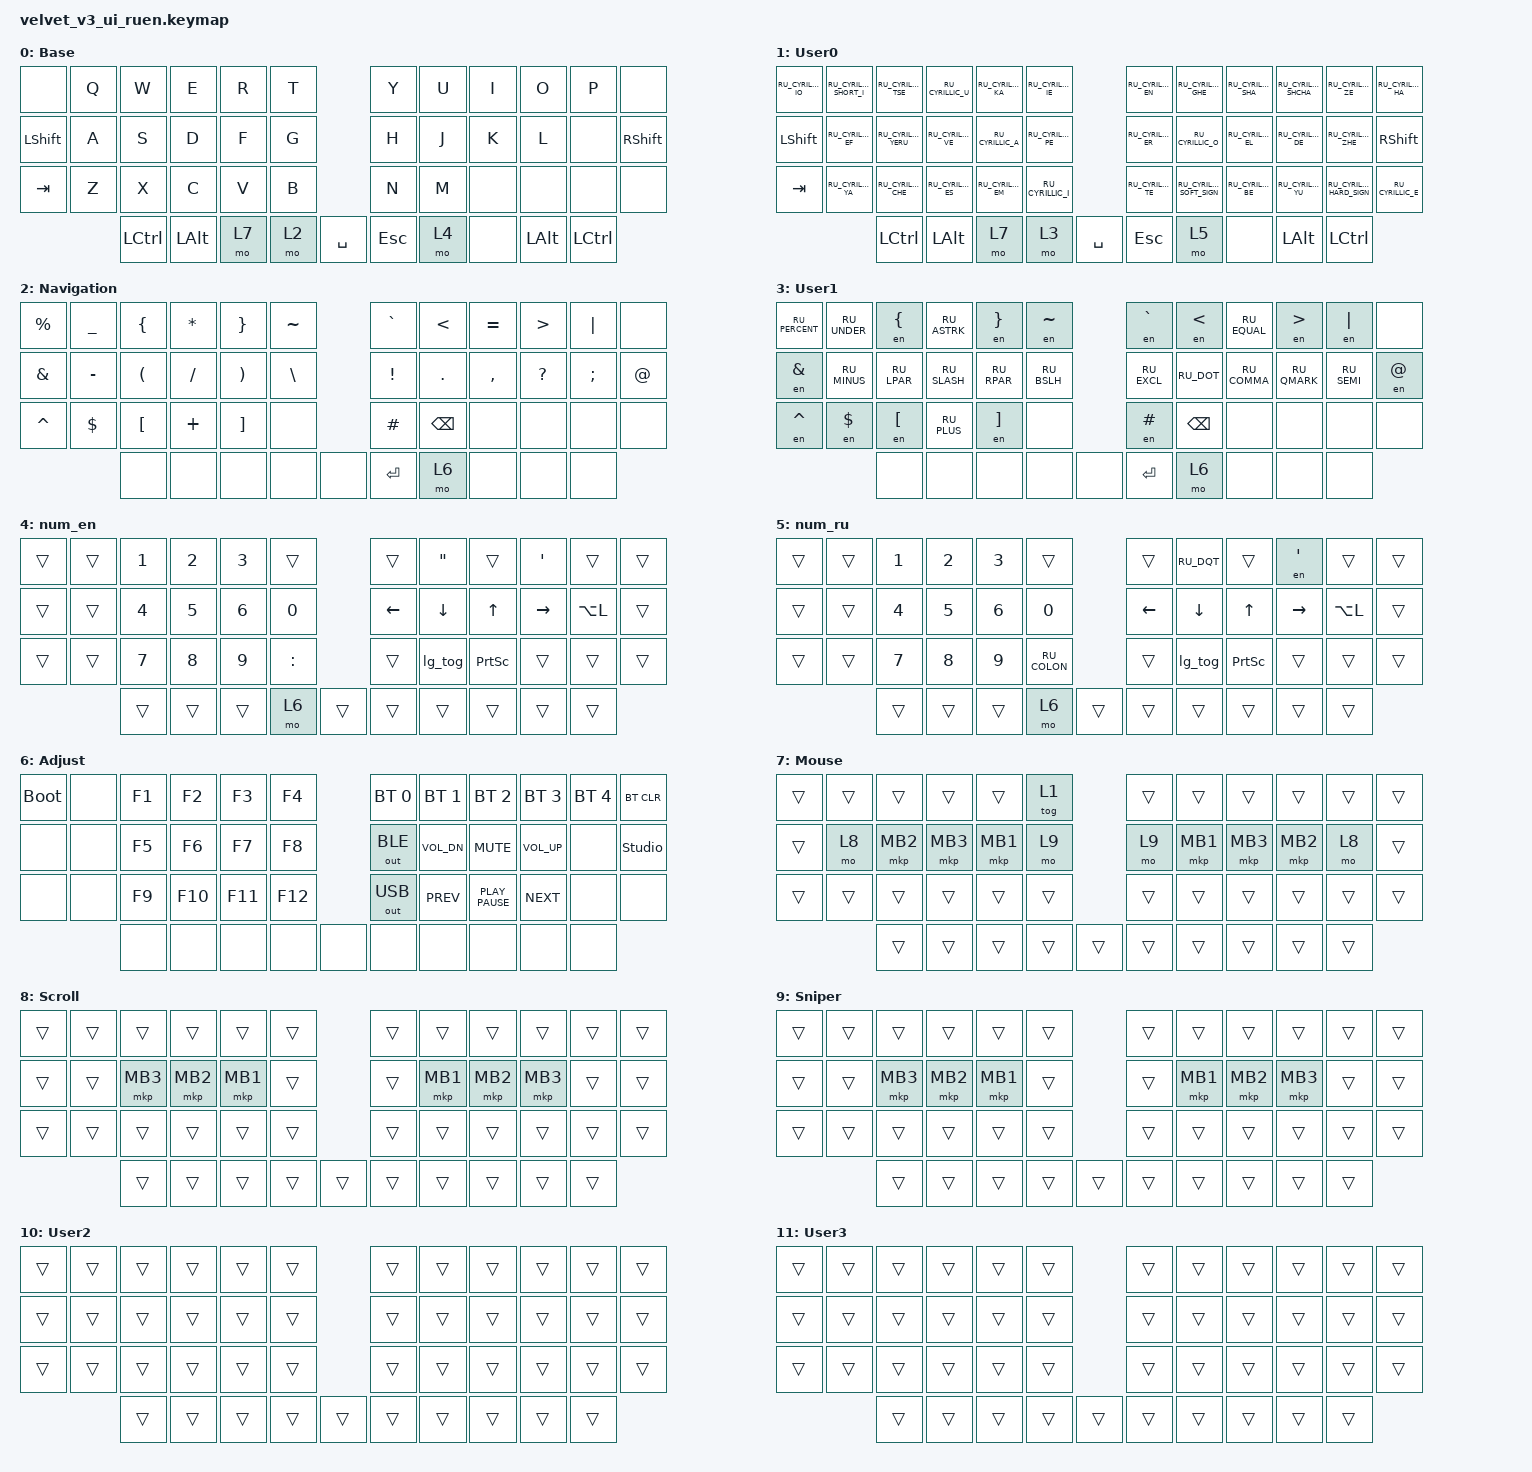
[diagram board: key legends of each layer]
#include "keys_ru.h"
#include <dt-bindings/zmk/input_transform.h>
#include <input/processors.dtsi>
#include <zephyr/dt-bindings/input/input-event-codes.h>
#include <behaviors.dtsi>
#include <dt-bindings/zmk/bt.h>
#include <dt-bindings/zmk/keys.h>
#include <dt-bindings/zmk/outputs.h>
#include <dt-bindings/zmk/pointing.h>

/ {
    behaviors {
        cap_sen: cap_sen {
            compatible = "zmk,behavior-hold-tap";
            label = "CAP_SEN";
            bindings = <&trans>, <&none>;

            #binding-cells = <2>;
            tapping-term-ms = <150>;
        };
    };

    combos {
        compatible = "zmk,combos";

        caps_word {
            bindings = <&caps_word>;
            key-positions = <12 23>;
        };
    };

    macros {
        to_ru: to_ru {
            compatible = "zmk,behavior-macro";
            #binding-cells = <0>;
            bindings = <&kp LG(SPACE)>;
            label = "TO_RU";
            wait-ms = <0>;
            tap-ms = <30>;
        };

        to_en: to_en {
            compatible = "zmk,behavior-macro";
            #binding-cells = <0>;
            bindings = <&kp LG(SPACE)>;
            label = "TO_EN";
            wait-ms = <0>;
            tap-ms = <30>;
        };

        layer_en: layer_en {
            compatible = "zmk,behavior-macro";
            #binding-cells = <0>;
            bindings = <&to 0 &to_en>;
            label = "LAYER_EN";
            wait-ms = <0>;
            tap-ms = <30>;
        };

        layer_ru: layer_ru {
            compatible = "zmk,behavior-macro";
            #binding-cells = <0>;
            bindings = <&to 1 &to_ru>;
            label = "LAYER_RU";
            tap-ms = <30>;
            wait-ms = <0>;
        };

        en: en {
            compatible = "zmk,behavior-macro-one-param";
            #binding-cells = <1>;
            bindings =
                <&to_en>,
                <&macro_press>,
                <&macro_param_1to1 &kp MACRO_PLACEHOLDER>,
                <&macro_pause_for_release>,
                <&macro_release>,
                <&macro_param_1to1 &kp MACRO_PLACEHOLDER>,
                <&macro_tap>,
                <&to_ru>;

            label = "EN";
            wait-ms = <0>;
            tap-ms = <30>;
        };

        lg_tog: lg_tog {
            compatible = "zmk,behavior-macro";
            #binding-cells = <0>;
            bindings = <&kp LG(SPACE) &tog 1>;
            label = "LG_TOG";
        };
    };

    keymap {
        compatible = "zmk,keymap";

        en {
            bindings = <
&none           &kp Q  &kp W             &kp E         &kp R  &kp T                        &kp Y  &kp U  &kp I         &kp O             &kp P  &none
&kp LEFT_SHIFT  &kp A  &kp S             &kp D         &kp F  &kp G                        &kp H  &kp J  &kp K         &kp L             &none  &kp RIGHT_SHIFT
&kp TAB         &kp Z  &kp X             &kp C         &kp V  &kp B                        &kp N  &kp M  &none         &none             &none  &none
                       &kp LEFT_CONTROL  &kp LEFT_ALT  &mo 7  &mo 2  &kp SPACE    &kp ESC  &mo 4  &none  &kp LEFT_ALT  &kp LEFT_CONTROL
            >;

            display-name = "Base";
        };

        ru {
            bindings = <
&kp RU_CYRILLIC_IO  &kp RU_CYRILLIC_SHORT_I  &kp RU_CYRILLIC_TSE   &kp RU_CYRILLIC_U   &kp RU_CYRILLIC_KA  &kp RU_CYRILLIC_IE                        &kp RU_CYRILLIC_EN  &kp RU_CYRILLIC_GHE        &kp RU_CYRILLIC_SHA  &kp RU_CYRILLIC_SHCHA  &kp RU_CYRILLIC_ZE         &kp RU_CYRILLIC_HA
&kp LEFT_SHIFT      &kp RU_CYRILLIC_EF       &kp RU_CYRILLIC_YERU  &kp RU_CYRILLIC_VE  &kp RU_CYRILLIC_A   &kp RU_CYRILLIC_PE                        &kp RU_CYRILLIC_ER  &kp RU_CYRILLIC_O          &kp RU_CYRILLIC_EL   &kp RU_CYRILLIC_DE     &kp RU_CYRILLIC_ZHE        &kp RIGHT_SHIFT
&kp TAB             &kp RU_CYRILLIC_YA       &kp RU_CYRILLIC_CHE   &kp RU_CYRILLIC_ES  &kp RU_CYRILLIC_EM  &kp RU_CYRILLIC_I                         &kp RU_CYRILLIC_TE  &kp RU_CYRILLIC_SOFT_SIGN  &kp RU_CYRILLIC_BE   &kp RU_CYRILLIC_YU     &kp RU_CYRILLIC_HARD_SIGN  &kp RU_CYRILLIC_E
                                             &kp LEFT_CONTROL      &kp LEFT_ALT        &mo 7               &mo 3               &kp SPACE    &kp ESC  &mo 5               &none                      &kp LEFT_ALT         &kp LEFT_CONTROL
            >;

            display-name = "User0";
        };

        sym_en {
            bindings = <
&kp PERCENT  &kp UNDER   &kp LEFT_BRACE        &kp STAR   &kp RIGHT_BRACE    &kp TILDE                      &kp GRAVE  &kp LESS_THAN  &kp EQUAL  &kp GREATER_THAN  &kp PIPE  &none
&kp AMPS     &kp MINUS   &kp LEFT_PARENTHESIS  &kp SLASH  &kp RPAR           &kp BSLH                       &kp EXCL   &kp DOT        &kp COMMA  &kp QMARK         &kp SEMI  &kp AT
&kp CARET    &kp DOLLAR  &kp LEFT_BRACKET      &kp PLUS   &kp RIGHT_BRACKET  &none                          &kp HASH   &kp BACKSPACE  &none      &none             &none     &none
                         &none                 &none      &none              &none      &none    &kp ENTER  &mo 6      &none          &none      &none
            >;

            display-name = "Navigation";
        };

        sym_ru {
            bindings = <
&kp RU_PERCENT  &kp RU_UNDER  &en LEFT_BRACE    &kp RU_ASTRK  &en RIGHT_BRACE    &en TILDE                        &en GRAVE    &en LESS_THAN  &kp RU_EQUAL  &en GREATER_THAN  &en PIPE     &none
&en AMPS        &kp RU_MINUS  &kp RU_LPAR       &kp RU_SLASH  &kp RU_RPAR        &kp RU_BSLH                      &kp RU_EXCL  &kp RU_DOT     &kp RU_COMMA  &kp RU_QMARK      &kp RU_SEMI  &en AT
&en CARET       &en DOLLAR    &en LEFT_BRACKET  &kp RU_PLUS   &en RIGHT_BRACKET  &none                            &en HASH     &kp BACKSPACE  &none         &none             &none        &none
                              &none             &none         &none              &none        &none    &kp ENTER  &mo 6        &none          &none         &none
            >;

            display-name = "User1";
        };

        num_en {
            bindings = <
&trans  &trans  &kp N1  &kp N2  &kp N3  &trans                       &trans          &kp DQT   &trans           &kp SQT    &trans     &trans
&trans  &trans  &kp N4  &kp N5  &kp N6  &kp N0                       &kp LEFT_ARROW  &kp DOWN  &kp UP           &kp RIGHT  &kp LA(L)  &trans
&trans  &trans  &kp N7  &kp N8  &kp N9  &kp COLON                    &trans          &lg_tog   &kp PRINTSCREEN  &trans     &trans     &trans
                &trans  &trans  &trans  &mo 6      &trans    &trans  &trans          &trans    &trans           &trans
            >;

            label = "num_en";
        };

        num_ru {
            bindings = <
&trans  &trans  &kp N1  &kp N2  &kp N3  &trans                          &trans          &kp RU_DQT  &trans           &en SQT    &trans     &trans
&trans  &trans  &kp N4  &kp N5  &kp N6  &kp N0                          &kp LEFT_ARROW  &kp DOWN    &kp UP           &kp RIGHT  &kp LA(L)  &trans
&trans  &trans  &kp N7  &kp N8  &kp N9  &kp RU_COLON                    &trans          &lg_tog     &kp PRINTSCREEN  &trans     &trans     &trans
                &trans  &trans  &trans  &mo 6         &trans    &trans  &trans          &trans      &trans           &trans
            >;

            label = "num_ru";
        };

        adj {
            bindings = <
&bootloader  &none  &kp F1  &kp F2   &kp F3   &kp F4                   &bt BT_SEL 0  &bt BT_SEL 1  &bt BT_SEL 2      &bt BT_SEL 3  &bt BT_SEL 4  &bt BT_CLR
&none        &none  &kp F5  &kp F6   &kp F7   &kp F8                   &out OUT_BLE  &kp C_VOL_DN  &kp K_MUTE        &kp C_VOL_UP  &none         &studio_unlock
&none        &none  &kp F9  &kp F10  &kp F11  &kp F12                  &out OUT_USB  &kp K_PREV    &kp K_PLAY_PAUSE  &kp K_NEXT    &none         &none
                    &none   &none    &none    &none    &none    &none  &none         &none         &none             &none
            >;

            display-name = "Adjust";
        };

        mouse {
            bindings = <
&trans  &trans  &trans    &trans    &trans    &tog 1                    &trans  &trans    &trans    &trans    &trans  &trans
&trans  &mo 8   &mkp MB2  &mkp MB3  &mkp MB1  &mo 9                     &mo 9   &mkp MB1  &mkp MB3  &mkp MB2  &mo 8   &trans
&trans  &trans  &trans    &trans    &trans    &trans                    &trans  &trans    &trans    &trans    &trans  &trans
                &trans    &trans    &trans    &trans  &trans    &trans  &trans  &trans    &trans    &trans
            >;

            display-name = "Mouse";
        };

        scroll {
            bindings = <
&trans  &trans  &trans    &trans    &trans    &trans                    &trans  &trans    &trans    &trans    &trans  &trans
&trans  &trans  &mkp MB3  &mkp MB2  &mkp MB1  &trans                    &trans  &mkp MB1  &mkp MB2  &mkp MB3  &trans  &trans
&trans  &trans  &trans    &trans    &trans    &trans                    &trans  &trans    &trans    &trans    &trans  &trans
                &trans    &trans    &trans    &trans  &trans    &trans  &trans  &trans    &trans    &trans
            >;

            display-name = "Scroll";
        };

        sniper {
            bindings = <
&trans  &trans  &trans    &trans    &trans    &trans                    &trans  &trans    &trans    &trans    &trans  &trans
&trans  &trans  &mkp MB3  &mkp MB2  &mkp MB1  &trans                    &trans  &mkp MB1  &mkp MB2  &mkp MB3  &trans  &trans
&trans  &trans  &trans    &trans    &trans    &trans                    &trans  &trans    &trans    &trans    &trans  &trans
                &trans    &trans    &trans    &trans  &trans    &trans  &trans  &trans    &trans    &trans
            >;

            display-name = "Sniper";
        };

        User2 {
            bindings = <
&trans  &trans  &trans  &trans  &trans  &trans                    &trans  &trans  &trans  &trans  &trans  &trans
&trans  &trans  &trans  &trans  &trans  &trans                    &trans  &trans  &trans  &trans  &trans  &trans
&trans  &trans  &trans  &trans  &trans  &trans                    &trans  &trans  &trans  &trans  &trans  &trans
                &trans  &trans  &trans  &trans  &trans    &trans  &trans  &trans  &trans  &trans
            >;

            display-name = "User2";
        };

        User3 {
            bindings = <
&trans  &trans  &trans  &trans  &trans  &trans                    &trans  &trans  &trans  &trans  &trans  &trans
&trans  &trans  &trans  &trans  &trans  &trans                    &trans  &trans  &trans  &trans  &trans  &trans
&trans  &trans  &trans  &trans  &trans  &trans                    &trans  &trans  &trans  &trans  &trans  &trans
                &trans  &trans  &trans  &trans  &trans    &trans  &trans  &trans  &trans  &trans
            >;

            display-name = "User3";
        };
    };
};

&trackball { cpi = <1000>; };

&trackball_listener {
    input-processors = <&zip_xy_scaler 20 20>;

    scroller {
        layers = <8>;
        input-processors =
            <&zip_xy_transform INPUT_TRANSFORM_Y_INVERT>,
            <&zip_xy_scaler 1 32>,
            <&zip_xy_to_scroll_mapper>;
    };

    sniper {
        layers = <9>;
        input-processors = <&zip_xy_scaler 1 4>;
    };
};
